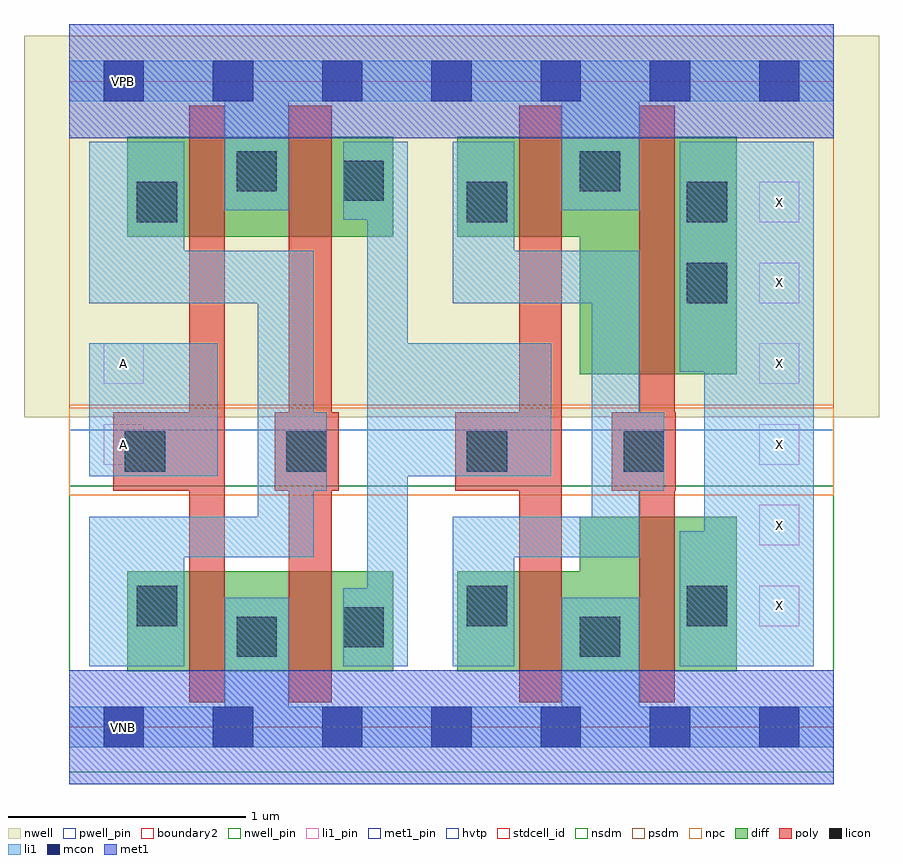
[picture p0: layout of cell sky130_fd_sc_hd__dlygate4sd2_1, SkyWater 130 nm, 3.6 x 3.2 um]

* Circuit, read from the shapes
.subckt sky130_fd_sc_hd__dlygate4sd2_1 A VGND VNB VPB VPWR X
XM1 VGND A n1 VNB sky130_fd_pr__nfet_01v8 w=0.42 l=0.15
XM2 n2 n1 VGND VNB sky130_fd_pr__nfet_01v8 w=0.42 l=0.18
XM3 VGND n2 n3 VNB sky130_fd_pr__nfet_01v8 w=0.42 l=0.18
XM4 X n3 VGND VNB sky130_fd_pr__nfet_01v8 w=0.65 l=0.15
XM5 VPWR A n1 VPB sky130_fd_pr__pfet_01v8_hvt w=0.42 l=0.15
XM6 n2 n1 VPWR VPB sky130_fd_pr__pfet_01v8_hvt w=0.42 l=0.18
XM7 VPWR n2 n3 VPB sky130_fd_pr__pfet_01v8_hvt w=0.42 l=0.18
XM8 X n3 VPWR VPB sky130_fd_pr__pfet_01v8_hvt w=1 l=0.15
.ends

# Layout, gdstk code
import gdstk
lib = gdstk.Library(unit=1e-6, precision=1e-09)
def R(c, l, rs):  # rectangles x0, y0, x1, y1
    for r in rs: c.add(gdstk.rectangle(r[:2], r[2:], *l))
def A(c, l, x, y, w, h, nx, ny, dx, dy):  # array of equal rectangles
    R(c, l, [(x+i*dx, y+j*dy, x+i*dx+w, y+j*dy+h) for i in range(nx) for j in range(ny)])
def P(c, l, *ps):  # polygons
    for p in ps: c.add(gdstk.Polygon(p, *l))
nwell_pin = (64, 16)
nwell = (64, 20)
diff = (65, 20)
poly = (66, 20)
licon = (66, 44)
li1_pin = (67, 16)
li1 = (67, 20)
mcon = (67, 44)
met1_pin = (68, 16)
met1 = (68, 20)
hvtp = (78, 44)
stdcell_id = (81, 4)
nsdm = (93, 44)
psdm = (94, 20)
npc = (95, 20)
pwell_pin = (122, 16)
boundary2 = (236, 0)

sky130_fd_sc_hd__dlygate = lib.new_cell('sky130_fd_sc_hd__dlygate4sd2_1')
R(sky130_fd_sc_hd__dlygate, nwell_pin, [(0.145,2.635,0.315,2.805)])
R(sky130_fd_sc_hd__dlygate, nwell, [(-0.19,1.305,3.41,2.91)])
R(sky130_fd_sc_hd__dlygate, diff, [(0.245,0.235,1.365,0.655), (0.245,2.065,1.365,2.485)])
P(sky130_fd_sc_hd__dlygate, diff, [(2.81,0.885),(2.15,0.885),(2.15,0.655),(1.635,0.655),(1.635,0.235),(2.81,0.235)],
  [(2.81,2.485),(1.635,2.485),(1.635,2.065),(2.15,2.065),(2.15,1.485),(2.81,1.485)])
P(sky130_fd_sc_hd__dlygate, poly, [(1.135,1.325),(1.105,1.325),(1.105,2.615),(0.925,2.615),(0.925,1.325),(0.865,1.325),(0.865,0.995),(0.925,0.995),(0.925,0.105),(1.105,0.105),(1.105,0.995),(1.135,0.995)],
  [(0.655,2.615),(0.505,2.615),(0.505,1.325),(0.185,1.325),(0.185,0.995),(0.505,0.995),(0.505,0.105),(0.655,0.105)],
  [(2.555,1.325),(2.55,1.325),(2.55,2.615),(2.4,2.615),(2.4,1.325),(2.285,1.325),(2.285,0.995),(2.4,0.995),(2.4,0.105),(2.55,0.105),(2.55,0.995),(2.555,0.995)],
  [(2.075,2.615),(1.895,2.615),(1.895,1.325),(1.625,1.325),(1.625,0.995),(1.895,0.995),(1.895,0.105),(2.075,0.105)])
R(sky130_fd_sc_hd__dlygate, licon, [(0.705,0.295,0.875,0.465), (2.15,0.295,2.32,0.465), (1.155,0.335,1.325,0.505), (0.285,0.425,0.455,0.595), (1.675,0.425,1.845,0.595), (2.6,0.425,2.77,0.595), (0.235,1.075,0.405,1.245), (0.915,1.075,1.085,1.245), (1.675,1.075,1.845,1.245), (2.335,1.075,2.505,1.245), (2.6,1.785,2.77,1.955), (0.285,2.125,0.455,2.295), (1.675,2.125,1.845,2.295), (2.6,2.125,2.77,2.295), (1.155,2.215,1.325,2.385), (0.705,2.255,0.875,2.425), (2.15,2.255,2.32,2.425)])
A(sky130_fd_sc_hd__dlygate, li1_pin, 2.905, 0.425, 0.17, 0.17, 1, 6, 0, 0.34)
R(sky130_fd_sc_hd__dlygate, li1_pin, [(0.145,1.105,0.315,1.275), (0.145,1.445,0.315,1.615)])
R(sky130_fd_sc_hd__dlygate, li1, [(0.085,1.055,0.625,1.615)])
P(sky130_fd_sc_hd__dlygate, li1, [(3.22,0.085),(2.4,0.085),(2.4,0.545),(2.075,0.545),(2.075,0.085),(0.925,0.085),(0.925,0.545),(0.655,0.545),(0.655,0.085),(0,0.085),(0,-0.085),(3.22,-0.085)],
  [(2.03,1.615),(1.425,1.615),(1.425,2.465),(1.155,2.465),(1.155,2.135),(1.255,2.135),(1.255,0.585),(1.155,0.585),(1.155,0.255),(1.425,0.255),(1.425,1.055),(2.03,1.055)],
  [(1.085,1.325),(1.03,1.325),(1.03,2.005),(0.485,2.005),(0.485,2.465),(0.085,2.465),(0.085,1.785),(0.795,1.785),(0.795,0.885),(0.085,0.885),(0.085,0.255),(0.485,0.255),(0.485,0.715),(1.03,0.715),(1.03,0.995),(1.085,0.995)],
  [(2.505,1.325),(2.4,1.325),(2.4,2.005),(1.875,2.005),(1.875,2.465),(1.615,2.465),(1.615,1.785),(2.2,1.785),(2.2,0.885),(1.615,0.885),(1.615,0.255),(1.875,0.255),(1.875,0.715),(2.4,0.715),(2.4,0.995),(2.505,0.995)],
  [(3.22,2.805),(0,2.805),(0,2.635),(0.655,2.635),(0.655,2.175),(0.925,2.175),(0.925,2.635),(2.075,2.635),(2.075,2.175),(2.4,2.175),(2.4,2.635),(3.22,2.635)],
  [(3.135,2.465),(2.57,2.465),(2.57,1.495),(2.675,1.495),(2.675,0.825),(2.57,0.825),(2.57,0.255),(3.135,0.255)])
A(sky130_fd_sc_hd__dlygate, mcon, 0.145, -0.085, 0.17, 0.17, 7, 2, 0.46, 2.72)
R(sky130_fd_sc_hd__dlygate, met1_pin, [(0.145,-0.085,0.315,0.085), (0.145,2.635,0.315,2.805)])
R(sky130_fd_sc_hd__dlygate, hvtp, [(0,1.25,3.22,2.72)])
R(sky130_fd_sc_hd__dlygate, stdcell_id, [(0,0,3.22,2.72)])
R(sky130_fd_sc_hd__dlygate, nsdm, [(0,-0.19,3.22,1.015)])
R(sky130_fd_sc_hd__dlygate, psdm, [(0,1.355,3.22,2.91)])
R(sky130_fd_sc_hd__dlygate, npc, [(0,0.975,3.22,1.345), (0.135,0.975,0.505,1.345), (0.815,0.975,1.185,1.345)])
R(sky130_fd_sc_hd__dlygate, pwell_pin, [(0.145,-0.085,0.315,0.085)])
R(sky130_fd_sc_hd__dlygate, boundary2, [(0,0,3.22,2.72)])
sky130_fd_sc_hd__dlygate.add(gdstk.FlexPath([(0,2.72),(3.22,2.72)], 0.48, ends="flush", simple_path=True, layer=68, datatype=20))  # met1
sky130_fd_sc_hd__dlygate.add(gdstk.FlexPath([(0,0),(3.22,0)], 0.48, ends="flush", simple_path=True, layer=68, datatype=20))  # met1
sky130_fd_sc_hd__dlygate.add(gdstk.Label('VPB', (0.23,2.72), layer=64, texttype=5))
sky130_fd_sc_hd__dlygate.add(gdstk.Label('VNB', (0.23,0), layer=64, texttype=59))
sky130_fd_sc_hd__dlygate.add(gdstk.Label('VGND', (0.23,0), layer=68, texttype=5))
sky130_fd_sc_hd__dlygate.add(gdstk.Label('VPWR', (0.23,2.72), layer=68, texttype=5))
sky130_fd_sc_hd__dlygate.add(gdstk.Label('X', (2.99,0.51), layer=67, texttype=5))
sky130_fd_sc_hd__dlygate.add(gdstk.Label('X', (2.99,2.21), layer=67, texttype=5))
sky130_fd_sc_hd__dlygate.add(gdstk.Label('X', (2.99,1.53), layer=67, texttype=5))
sky130_fd_sc_hd__dlygate.add(gdstk.Label('A', (0.23,1.19), layer=67, texttype=5))
sky130_fd_sc_hd__dlygate.add(gdstk.Label('A', (0.23,1.53), layer=67, texttype=5))
sky130_fd_sc_hd__dlygate.add(gdstk.Label('X', (2.99,0.85), layer=67, texttype=5))
sky130_fd_sc_hd__dlygate.add(gdstk.Label('X', (2.99,1.19), layer=67, texttype=5))
sky130_fd_sc_hd__dlygate.add(gdstk.Label('X', (2.99,1.87), layer=67, texttype=5))
sky130_fd_sc_hd__dlygate.add(gdstk.Label('dlygate4sd2_1', (0,0), layer=83, texttype=44))

lib.write_gds('sky130_fd_sc_hd__dlygate4sd2_1.gds')
